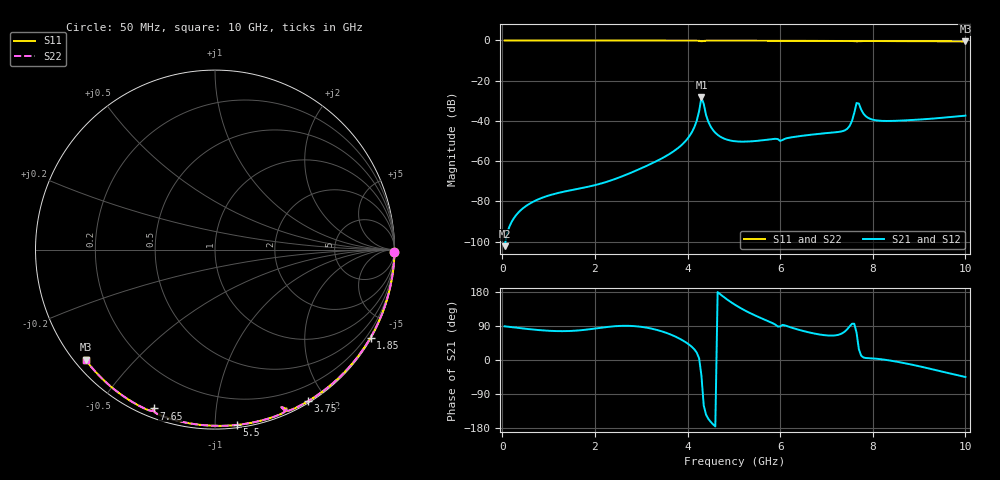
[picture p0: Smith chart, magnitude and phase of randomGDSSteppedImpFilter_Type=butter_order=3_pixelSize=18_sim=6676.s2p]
! freq	dB(S11)	phase(S11)	dB(S12)	phase(S12)
!  dB(S21)	phase(S21)	dB(S22)	phase(S22)
!S-par simulation data
#  GHz  S  DB  R 50
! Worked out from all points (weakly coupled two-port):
!   200 points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, 50 MHz to 10 GHz, reference 50 ohm
!   highest |S21| = -28.34 dB at 4.3 GHz (marker M1); lowest = -102.2 dB at 50 MHz (marker M2)
!   lowest |S11| = -0.5 dB at 10 GHz (marker M3), VSWR 36.69, Z = 1.55 - j18.4 ohm
!   |S11| at or under -10 dB: nowhere
!   |S22| runs from -0.5 to 0.0 dB; largest |S21 - S12| = 0
!   S11 on the Smith chart (normalised r, x): 50 MHz: open; 1.85 GHz: 0.03, -3.80; 3.75 GHz: 0.02, -1.79; 5.5 GHz: 0.02, -1.13; 7.65 GHz: 0.04, -0.68; 10 GHz: 0.03, -0.37
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0.05  -0.00 -0.8  -102.22 88.9  -102.22 88.9  -0.00 -0.8
0.65  -0.01 -10.5  -80.33 80.5  -80.33 80.5  -0.01 -10.5
1.75  -0.04 -28.0  -73.19 79.2  -73.19 79.2  -0.04 -27.9
1.85  -0.04 -29.5  -72.71 80.6  -72.71 80.6  -0.04 -29.5
3.4  -0.07 -53.2  -59.15 77.3  -59.15 77.3  -0.07 -53.2
3.75  -0.08 -58.4  -54.25 61.1  -54.25 61.1  -0.08 -58.4
4.1  -0.09 -63.7  -45.32 33.9  -45.32 33.9  -0.09 -63.6
4.2  -0.11 -65.4  -39.77 19.3  -39.77 19.3  -0.11 -65.4
4.3  -0.41 -67.2  -28.34 -41.2  -28.34 -41.2  -0.42 -67.2
4.45  -0.12 -67.8  -40.47 -155.4  -40.47 -155.4  -0.12 -67.8
4.55  -0.11 -69.4  -44.53 -169.6  -44.53 -169.6  -0.11 -69.4
4.75  -0.11 -72.4  -48.33 169.3  -48.33 169.3  -0.11 -72.3
5.05  -0.12 -76.6  -50.13 143.9  -50.13 143.9  -0.12 -76.6
5.5  -0.14 -82.8  -49.90 115.3  -49.90 115.3  -0.14 -82.8
6  -0.16 -89.6  -49.92 88.5  -49.92 88.5  -0.16 -89.5
6.7  -0.19 -98.8  -46.75 70.8  -46.75 70.8  -0.19 -98.7
7.45  -0.25 -108.6  -43.87 81.4  -43.87 81.4  -0.25 -108.5
7.55  -0.28 -110.0  -40.06 95.6  -40.06 95.6  -0.28 -110.0
7.65  -0.46 -111.2  -31.08 71.9  -31.08 71.9  -0.46 -111.1
7.9  -0.28 -113.6  -38.47 4.7  -38.47 4.7  -0.28 -113.6
8.35  -0.31 -119.4  -40.01 -1.0  -40.01 -1.0  -0.31 -119.3
10  -0.47 -139.6  -37.37 -44.9  -37.37 -44.9  -0.47 -139.5
